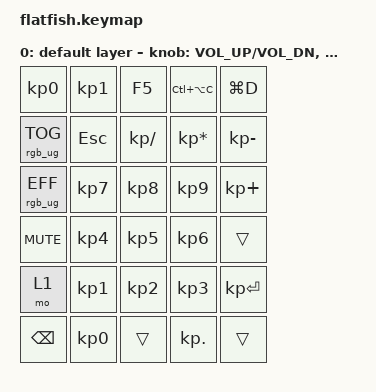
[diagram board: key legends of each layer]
#include <behaviors.dtsi>
#include <dt-bindings/zmk/keys.h>
#include <dt-bindings/zmk/bt.h>


/ {

    keymap0: keymap {
        compatible = "zmk,keymap";

        default_layer {
            display-name = "default layer";
            bindings = <
                &kp KP_N0        &kp KP_N1    &kp F5          &kp LC(LA(C))     &kp LG(D)
                &rgb_ug RGB_TOG  &kp ESC      &kp KP_DIVIDE   &kp KP_MULTIPLY   &kp KP_MINUS
                &rgb_ug RGB_EFF  &kp KP_N7    &kp KP_N8       &kp KP_N9         &kp KP_PLUS
                &kp C_MUTE       &kp KP_N4    &kp KP_N5       &kp KP_N6         &trans
                &mo 1            &kp KP_N1    &kp KP_N2       &kp KP_N3         &kp KP_ENTER
                &kp BSPC         &kp KP_N0    &trans          &kp KP_DOT        &trans
            >;
            sensor-bindings = <&inc_dec_kp C_VOL_UP C_VOL_DN &inc_dec_kp PG_UP PG_DN>;

        };

    };
};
